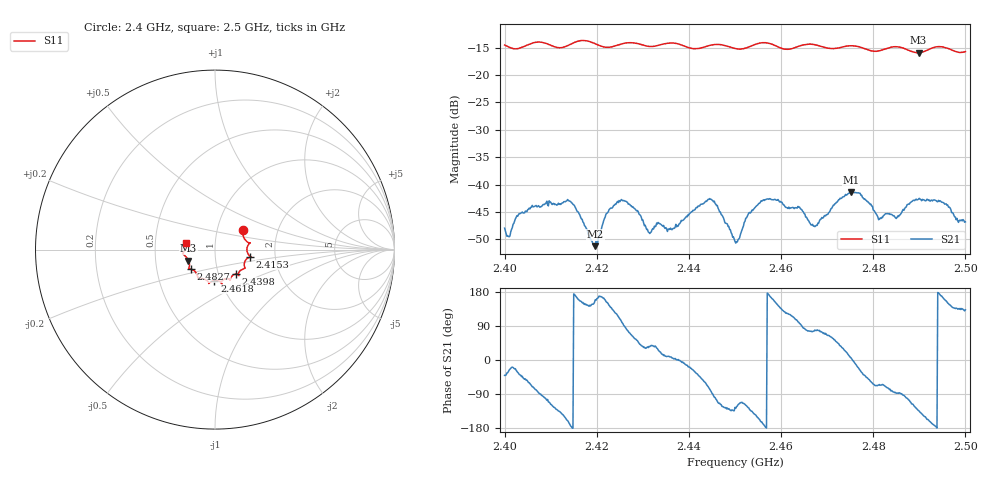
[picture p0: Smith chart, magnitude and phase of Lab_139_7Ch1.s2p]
# Hz S RI R 50
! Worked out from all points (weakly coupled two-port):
!   601 points, 2.4 GHz to 2.5 GHz, reference 50 ohm
!   highest |S21| = -41.42 dB at 2.4752 GHz (marker M1); lowest = -51.2 dB at 2.4197 GHz (marker M2)
!   lowest |S11| = -15.9 dB at 2.4898 GHz (marker M3), VSWR 1.38, Z = 36.9 - j4.63 ohm
!   |S11| at or under -10 dB: start of sweep to end of sweep
!   S12 and S22 are empty: the file has one direction only
!   S11 on the Smith chart (normalised r, x): 2.4 GHz: 1.33, +0.29; 2.4153 GHz: 1.48, -0.12; 2.4398 GHz: 1.21, -0.34; 2.4618 GHz: 0.94, -0.33; 2.4827 GHz: 0.75, -0.17; 2.5 GHz: 0.72, +0.06
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2.4e9  0.1551 0.1068  0.00304 -0.0026  0 0  0 0
2.406333e9  0.1941 0.0373  0.00179 -0.00602  0 0  0 0
2.415333e9  0.1962 -0.0387  -0.0061 0.00107  0 0  0 0
2.416667e9  0.2023 -0.0426  -0.00435 0.00215  0 0  0 0
2.419667e9  0.1882 -0.0436  -0.00255 0.000991  0 0  0 0
2.422333e9  0.1659 -0.0679  -0.00485 0.00265  0 0  0 0
2.425e9  0.1648 -0.0962  -0.0022 0.00661  0 0  0 0
2.431333e9  0.1402 -0.1172  0.00296 0.00213  0 0  0 0
2.433333e9  0.1308 -0.1335  0.00405 0.002  0 0  0 0
2.436333e9  0.1328 -0.145  0.00386 0.00036  0 0  0 0
2.439833e9  0.1157 -0.1362  0.00507 -0.00164  0 0  0 0
2.445e9  0.0844 -0.1685  0.000296 -0.00723  0 0  0 0
2.45e9  0.0654 -0.1624  -0.00173 -0.00248  0 0  0 0
2.456e9  0.0381 -0.1939  -0.007 -0.00153  0 0  0 0
2.461833e9  -0.00306 -0.1726  -0.00303 0.00522  0 0  0 0
2.466667e9  -0.0344 -0.1881  0.00112 0.00413  0 0  0 0
2.475167e9  -0.0934 -0.1599  0.00845 0.000861  0 0  0 0
2.482667e9  -0.135 -0.1091  0.00186 -0.00509  0 0  0 0
2.483333e9  -0.1401 -0.1086  0.00141 -0.00521  0 0  0 0
2.489833e9  -0.1477 -0.0611  -0.00509 -0.00533  0 0  0 0
2.494667e9  -0.1803 -0.0207  -0.0069 0.00128  0 0  0 0
2.5e9  -0.1593 0.0385  -0.00307 0.00338  0 0  0 0
